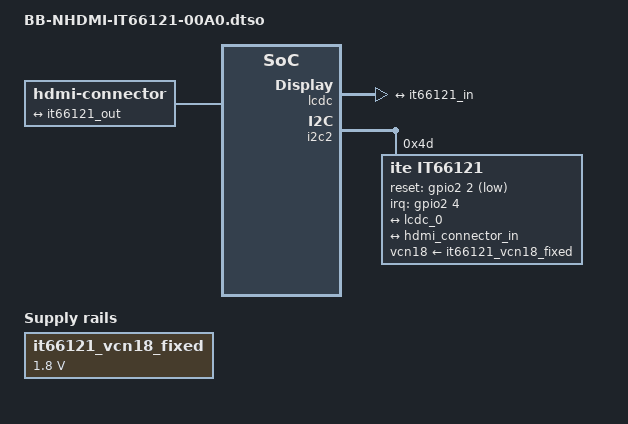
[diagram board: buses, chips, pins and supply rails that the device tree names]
// SPDX-License-Identifier: GPL-2.0-only
/*
 * Copyright (C) 2012 Texas Instruments Incorporated - https://www.ti.com/
 */

/dts-v1/;
/plugin/;

#include <dt-bindings/gpio/gpio.h>
#include <dt-bindings/pinctrl/am33xx.h>
#include <dt-bindings/interrupt-controller/irq.h>

/*
 * Helper to show loaded overlays under: /proc/device-tree/chosen/overlays/
 */
&{/chosen} {
	overlays {
		BB-NHDMI-IT66121-00A0.kernel = __TIMESTAMP__;
	};
};

/*
 * Free up the pins used by the cape from the pinmux helpers.
 */
&ocp {
	P8_45_pinmux { status = "disabled"; };	/* lcd_data0 */
	P8_46_pinmux { status = "disabled"; };	/* lcd_data1 */
	P8_43_pinmux { status = "disabled"; };	/* lcd_data2 */
	P8_44_pinmux { status = "disabled"; };	/* lcd_data3 */
	P8_41_pinmux { status = "disabled"; };	/* lcd_data4 */
	P8_42_pinmux { status = "disabled"; };	/* lcd_data5 */
	P8_39_pinmux { status = "disabled"; };	/* lcd_data6 */
	P8_40_pinmux { status = "disabled"; };	/* lcd_data7 */
	P8_37_pinmux { status = "disabled"; };	/* lcd_data8 */
	P8_38_pinmux { status = "disabled"; };	/* lcd_data9 */
	P8_36_pinmux { status = "disabled"; };	/* lcd_data10 */
	P8_34_pinmux { status = "disabled"; };	/* lcd_data11 */
	P8_35_pinmux { status = "disabled"; };	/* lcd_data12 */
	P8_33_pinmux { status = "disabled"; };	/* lcd_data13 */
	P8_31_pinmux { status = "disabled"; };	/* lcd_data14 */
	P8_32_pinmux { status = "disabled"; };	/* lcd_data15 */
	P8_27_pinmux { status = "disabled"; };	/* lcd_vsync */
	P8_29_pinmux { status = "disabled"; };	/* lcd_hsync */
	P8_28_pinmux { status = "disabled"; };	/* lcd_pclk */
	P8_30_pinmux { status = "disabled"; };	/* lcd_ac_bias_en */
};

&{/} {
	connector-hdmi {
		compatible = "hdmi-connector";
		label = "hdmi";
		type = "a";
		port {
			hdmi_connector_in: endpoint {
				remote-endpoint = <&it66121_out>;
			};
		};
	};

	it66121_vcn18_fixed: fixedregulator1 {
		compatible = "regulator-fixed";
		regulator-name = "it66121_vcn18_fixed";
		regulator-min-microvolt = <1800000>;
		regulator-max-microvolt = <1800000>;
	};
};

&am33xx_pinmux {
	nxp_hdmi_bonelt_pins: nxp-hdmi-bonelt-pins {
		pinctrl-single,pins = <
			AM33XX_PADCONF(AM335X_PIN_XDMA_EVENT_INTR0, PIN_OUTPUT_PULLDOWN, MUX_MODE3)
			AM33XX_PADCONF(AM335X_PIN_LCD_DATA0, PIN_OUTPUT, MUX_MODE0)
			AM33XX_PADCONF(AM335X_PIN_LCD_DATA1, PIN_OUTPUT, MUX_MODE0)
			AM33XX_PADCONF(AM335X_PIN_LCD_DATA2, PIN_OUTPUT, MUX_MODE0)
			AM33XX_PADCONF(AM335X_PIN_LCD_DATA3, PIN_OUTPUT, MUX_MODE0)
			AM33XX_PADCONF(AM335X_PIN_LCD_DATA4, PIN_OUTPUT, MUX_MODE0)
			AM33XX_PADCONF(AM335X_PIN_LCD_DATA5, PIN_OUTPUT, MUX_MODE0)
			AM33XX_PADCONF(AM335X_PIN_LCD_DATA6, PIN_OUTPUT, MUX_MODE0)
			AM33XX_PADCONF(AM335X_PIN_LCD_DATA7, PIN_OUTPUT, MUX_MODE0)
			AM33XX_PADCONF(AM335X_PIN_LCD_DATA8, PIN_OUTPUT, MUX_MODE0)
			AM33XX_PADCONF(AM335X_PIN_LCD_DATA9, PIN_OUTPUT, MUX_MODE0)
			AM33XX_PADCONF(AM335X_PIN_LCD_DATA10, PIN_OUTPUT, MUX_MODE0)
			AM33XX_PADCONF(AM335X_PIN_LCD_DATA11, PIN_OUTPUT, MUX_MODE0)
			AM33XX_PADCONF(AM335X_PIN_LCD_DATA12, PIN_OUTPUT, MUX_MODE0)
			AM33XX_PADCONF(AM335X_PIN_LCD_DATA13, PIN_OUTPUT, MUX_MODE0)
			AM33XX_PADCONF(AM335X_PIN_LCD_DATA14, PIN_OUTPUT, MUX_MODE0)
			AM33XX_PADCONF(AM335X_PIN_LCD_DATA15, PIN_OUTPUT, MUX_MODE0)
			AM33XX_PADCONF(AM335X_PIN_LCD_VSYNC, PIN_OUTPUT_PULLDOWN, MUX_MODE0)
			AM33XX_PADCONF(AM335X_PIN_LCD_HSYNC, PIN_OUTPUT_PULLDOWN, MUX_MODE0)
			AM33XX_PADCONF(AM335X_PIN_LCD_PCLK, PIN_OUTPUT_PULLDOWN, MUX_MODE0)
			AM33XX_PADCONF(AM335X_PIN_LCD_AC_BIAS_EN, PIN_OUTPUT_PULLDOWN, MUX_MODE0)
		>;
	};

	hdmi_gpio_pins_default: hdmi-gpio-default-pins {
		pinctrl-single,pins = <
			AM33XX_PADCONF(AM335X_PIN_GPMC_ADVN_ALE, PIN_INPUT_PULLUP, MUX_MODE7)	/* HDMI_INT GPMC_ADVN_ALE.GPIO2_2 */
			AM33XX_PADCONF(AM335X_PIN_GPMC_WEN, PIN_OUTPUT_PULLUP, MUX_MODE7) /* HDMI_RESET GPMC_WEN.GPIO2_4 */
		>;
	};
};

&lcdc {
	status = "okay";
	pinctrl-names = "default";
	pinctrl-0 = <&nxp_hdmi_bonelt_pins>;

	/* If you want to get 24 bit RGB and 16 BGR mode instead of
	 * current 16 bit RGB and 24 BGR modes, set the propety
	 * below to "crossed" and uncomment the video-ports -property
	 * in tda19988 node.
	 */
	blue-and-red-wiring = "straight";

	port {
		lcdc_0: endpoint@0 {
			remote-endpoint = <&it66121_in>;
		};
	};
};

&i2c2 {
	#address-cells = <1>;
	#size-cells = <0>;

	status = "okay";
	it66121: bridge-hdmi@4d {
		compatible = "ite,it66121";
		reg = <0x4d>;
		pinctrl-names = "default";
		pinctrl-0 = <&hdmi_gpio_pins_default>;

		// vcn33-supply = <&vmmcsd_fixed>;
		// vcn33-supply = <&v3v3>;
		vcn18-supply = <&it66121_vcn18_fixed>;
		//vrf12-supply = <&mt6358_vrf12_reg>;
		reset-gpios = <&gpio2 2 GPIO_ACTIVE_LOW>;
		interrupt-parent = <&gpio2>;
		interrupts = <4 IRQ_TYPE_EDGE_FALLING>;
		#sound-dai-cells = <0>;

		ports {
			#address-cells = <1>;
			#size-cells = <0>;

			port@0 {
				reg = <0>;

				it66121_in: endpoint {
					bus-width = <24>;
					remote-endpoint = <&lcdc_0>;
				};
			};

			port@1 {
				reg = <1>;

				it66121_out: endpoint {
					remote-endpoint = <&hdmi_connector_in>;
				};
			};
		};
	};
};
